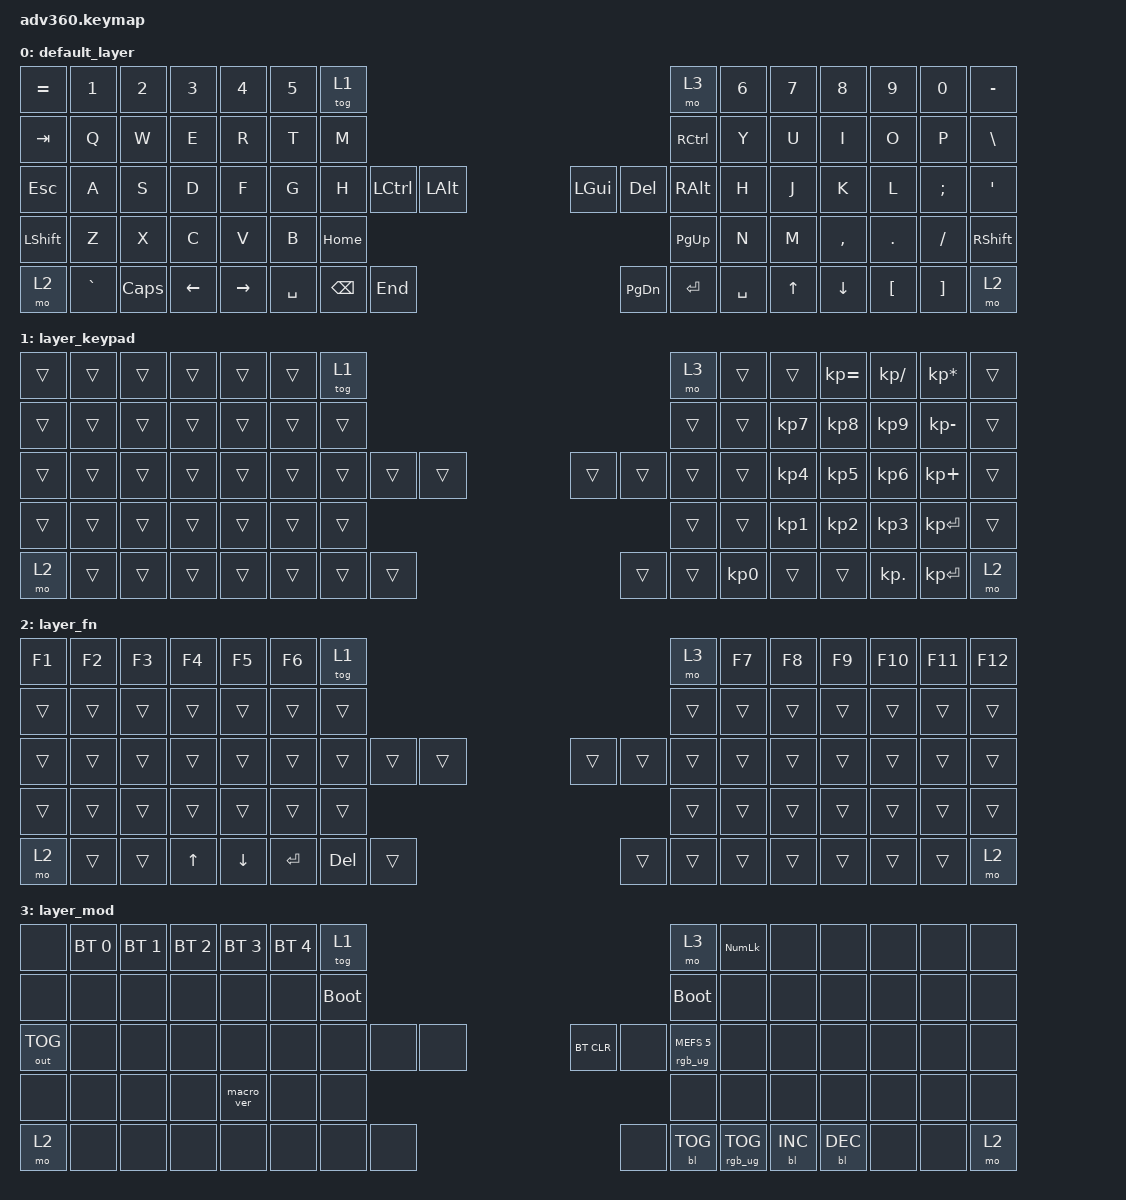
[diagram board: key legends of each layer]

/*
 * Copyright (c) 2020 The ZMK Contributors
 *
 * SPDX-License-Identifier: MIT
 */


/* THIS FILE WAS GENERATED!
 *
 * This file was generated automatically. You may or may not want to
 * edit it directly.
 */

#include <behaviors.dtsi>
#include <dt-bindings/zmk/keys.h>
#include <dt-bindings/zmk/bt.h>
#include <dt-bindings/zmk/outputs.h>
#include <dt-bindings/zmk/rgb.h>
#include <dt-bindings/zmk/backlight.h>

/ {
  behaviors {
    #include "macros.dtsi"
    #include "version.dtsi"

    hm: homerow_mods {
        compatible = "zmk,behavior-hold-tap";
        label = "HOMEROW_MODS";
        #binding-cells = <2>;
        tapping-term-ms = <200>;
        quick_tap_ms = <175>;
        flavor = "tap-preferred";
        bindings = <&kp>, <&kp>;
    };
  };

    keymap {
        compatible = "zmk,keymap";


        default_layer {
            bindings = <
 &kp EQUAL     &kp N1    &kp N2    &kp N3     &kp N4  &kp N5               &tog 1                                                                     &mo 3  &kp N6  &kp N7     &kp N8    &kp N9    &kp N0  &kp MINUS
   &kp TAB      &kp Q     &kp W     &kp E      &kp R   &kp T                &kp M                                                                 &kp RCTRL   &kp Y   &kp U      &kp I     &kp O     &kp P   &kp BSLH
   &kp ESC      &kp A     &kp S     &kp D      &kp F   &kp G                &kp H      &kp LCTRL  &kp LALT                   &kp LGUI    &kp DEL   &kp RALT   &kp H   &kp J      &kp K     &kp L  &kp SEMI    &kp SQT
 &kp LSHFT      &kp Z     &kp X     &kp C      &kp V   &kp B                                      &kp HOME                  &kp PG_UP                         &kp N   &kp M  &kp COMMA   &kp DOT  &kp FSLH  &kp RSHFT
     &mo 2  &kp GRAVE  &kp CAPS  &kp LEFT  &kp RIGHT                    &kp SPACE  &kp BACKSPACE   &kp END                  &kp PG_DN  &kp ENTER  &kp SPACE          &kp UP   &kp DOWN  &kp LBKT  &kp RBKT      &mo 2
            >;
        };

        layer_keypad {
            bindings = <
 &trans  &trans  &trans  &trans  &trans  &trans            &tog 1                                                      &mo 3  &trans     &trans  &kp KP_EQUAL  &kp KP_DIVIDE  &kp KP_MULTIPLY  &trans
 &trans  &trans  &trans  &trans  &trans  &trans            &trans                                                     &trans  &trans  &kp KP_N7     &kp KP_N8      &kp KP_N9     &kp KP_MINUS  &trans
 &trans  &trans  &trans  &trans  &trans  &trans            &trans  &trans  &trans                  &trans  &trans     &trans  &trans  &kp KP_N4     &kp KP_N5      &kp KP_N6      &kp KP_PLUS  &trans
 &trans  &trans  &trans  &trans  &trans  &trans                            &trans                  &trans                     &trans  &kp KP_N1     &kp KP_N2      &kp KP_N3     &kp KP_ENTER  &trans
  &mo 2  &trans  &trans  &trans  &trans                    &trans  &trans  &trans                  &trans  &trans  &kp KP_N0             &trans        &trans     &kp KP_DOT     &kp KP_ENTER   &mo 2
            >;
        };

        layer_fn {
            bindings = <
 &kp F1  &kp F2  &kp F3  &kp F4    &kp F5  &kp F6               &tog 1                                                    &mo 3  &kp F7  &kp F8  &kp F9  &kp F10  &kp F11  &kp F12
 &trans  &trans  &trans  &trans    &trans  &trans               &trans                                                   &trans  &trans  &trans  &trans   &trans   &trans   &trans
 &trans  &trans  &trans  &trans    &trans  &trans               &trans   &trans  &trans                  &trans  &trans  &trans  &trans  &trans  &trans   &trans   &trans   &trans
 &trans  &trans  &trans  &trans    &trans  &trans                                &trans                  &trans                  &trans  &trans  &trans   &trans   &trans   &trans
  &mo 2  &trans  &trans  &kp UP  &kp DOWN                    &kp ENTER  &kp DEL  &trans                  &trans  &trans  &trans          &trans  &trans   &trans   &trans    &mo 2
            >;
        };

        layer_mod {
            bindings = <
        &none  &bt BT_SEL 0  &bt BT_SEL 1  &bt BT_SEL 2  &bt BT_SEL 3  &bt BT_SEL 4                 &tog 1                                                                           &mo 3  &kp KP_NUMLOCK       &none       &none   &none   &none   &none
        &none         &none         &none         &none         &none         &none            &bootloader                                                                     &bootloader           &none       &none       &none   &none   &none   &none
 &out OUT_TOG         &none         &none         &none         &none         &none                  &none   &none   &none                  &bt BT_CLR       &none  &rgb_ug RGB_MEFS_CMD 5           &none       &none       &none   &none   &none   &none
        &none         &none         &none         &none    &macro_ver         &none                                  &none                       &none                                               &none       &none       &none   &none   &none   &none
        &mo 2         &none         &none         &none         &none                                &none   &none   &none                       &none  &bl BL_TOG         &rgb_ug RGB_TOG                  &bl BL_INC  &bl BL_DEC   &none   &none   &mo 2
            >;
        };

    };
};
